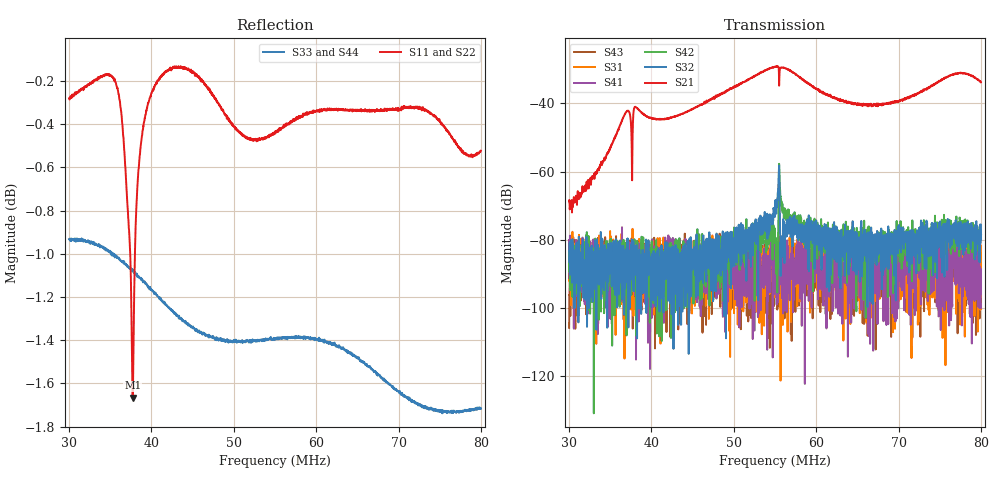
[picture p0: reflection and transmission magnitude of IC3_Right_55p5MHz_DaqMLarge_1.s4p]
#  HZ  S  DB  R  50.00
! Rohde & Schwarz Vector Network Analyzer
! Rohde-Schwarz,ZNB8-4Port,1311601044102961,2.82
! Created: UTC 2/12/2019, 2:17:40 PM
! freq[Hz]  db:S11  ang:S11  db:S12  ang:S12  db:S13  ang:S13  db:S14  ang:S14
!  db:S21  ang:S21  db:S22  ang:S22  db:S23  ang:S23  db:S24  ang:S24
!  db:S31  ang:S31  db:S32  ang:S32  db:S33  ang:S33  db:S34  ang:S34
!  db:S41  ang:S41  db:S42  ang:S42  db:S43  ang:S43  db:S44  ang:S44
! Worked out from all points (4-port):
!   2001 points, 30 MHz to 80 MHz, reference 50 ohm
!   strongest paths, dB at 30 MHz, 42.5 MHz, 55 MHz, 67.5 MHz, 80 MHz:
!     S21: -68.7, -44.1, -29.3, -40.8, -33.8
!     S32: -86.4, -83.2, -73.2, -84.4, -79.1
!     S42: -88.6, -91.8, -79.8, -77.7, -78.3
!     S41: -91.2, -91.1, -93.5, -99.7, -99.9
!     S31: -83.4, -92.7, -83.9, -81.4, -81.7
!     S43: -105.8, -81.5, -90.8, -95.2, -85.3
!   lowest |S11| = -1.7 dB at 37.73 MHz (marker M1), VSWR 10.46, Z = 46 - j140 ohm
!   |S11| at or under -10 dB: nowhere
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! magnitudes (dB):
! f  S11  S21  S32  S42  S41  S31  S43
! 30 MHz  -0.3  -68.7  -86.4  -88.6  -91.2  -83.4  -105.8
! 37.73 MHz  -1.7  -47.6  -86.6  -84.8  -93.4  -84.5  -106.0
! 52 MHz  -0.5  -32.7  -81.8  -77.7  -99.0  -91.0  -102.0
! 55.33 MHz  -0.4  -29.1  -66.5  -84.3  -98.3  -91.1  -96.8
! 55.9 MHz  -0.4  -29.5  -81.8  -69.4  -91.3  -89.6  -87.9
! 66.1 MHz  -0.3  -40.6  -79.6  -85.6  -93.6  -104.2  -87.1
! 80 MHz  -0.5  -33.8  -79.1  -78.3  -99.9  -81.7  -85.3
